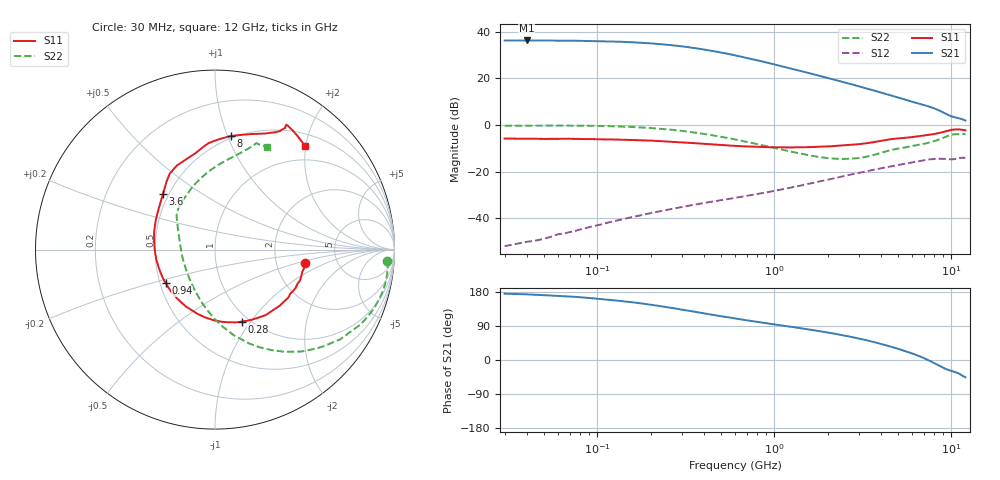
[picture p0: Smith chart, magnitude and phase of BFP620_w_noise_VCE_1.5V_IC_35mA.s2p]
! Infineon Technologies  Discrete & RF Semiconductors
! BFP620
! VCE =  1.5 V,  IC =  35 mA
! Common Emitter S-Parameters:  Nov 2015
# GHz  S  MA  R  50
!  f  S11  S21  S12  S22
! GHz  MAG  ANG  MAG  ANG  MAG  ANG  MAG  ANG
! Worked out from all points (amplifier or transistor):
!   239 points, 30 MHz to 12 GHz, reference 50 ohm
!   highest |S21| = 36.2 dB at 40 MHz (marker M1)
!   |S21| within 3 dB of that: start of sweep to 335.4 MHz
!   unconditionally stable (mu >= 1): 2.356 GHz to end of sweep
!   at 300 MHz: K = 0.38, MSG = 34.5 dB, |S12| = -35.2 dB
!   at 1.88 GHz: K = 0.97, MSG = 22.3 dB, |S12| = -24.0 dB
!   at 12 GHz: K = 1.08, MAG = 6.2 dB, |S12| = -14.1 dB
!   lowest NFmin = 1.24 dB at 450 MHz
!   S11 on the Smith chart (normalised r, x): 30 MHz: 2.94, -0.60; 280 MHz: 0.92, -0.91; 940 MHz: 0.54, -0.23; 3.6 GHz: 0.47, +0.35; 8 GHz: 0.48, +1.03; 12 GHz: 0.71, +1.98
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0.03  0.5089 -8.5  64.66 175.1  0.0025 92.2  0.9621 -3.8
0.04  0.5071 -11.7  64.91 173.3  0.0031 90.2  0.9665 -5.9
0.07  0.5041 -19.9  64.39 167.6  0.005 84.5  0.9662 -12.1
0.085  0.4974 -23.8  63.61 164.7  0.006 83.0  0.9602 -15.1
0.115  0.4868 -31.9  62.26 159.2  0.008 79.3  0.9411 -20.9
0.15  0.4774 -40.9  59.99 153.4  0.0101 76.1  0.911 -27.3
0.19  0.463 -50.0  56.98 147.4  0.0123 73.2  0.8674 -33.9
0.24  0.4429 -61.3  53.13 140.4  0.0147 70.0  0.8121 -41.4
0.28  0.4277 -69.6  50.04 135.4  0.0165 68.0  0.7668 -46.8
0.34  0.4095 -81.0  45.63 128.8  0.0189 65.5  0.7017 -54.2
0.4  0.394 -91.1  41.58 123.0  0.0211 63.8  0.6419 -60.7
0.5  0.3711 -105.2  35.73 115.5  0.0242 61.8  0.5565 -70.0
0.6  0.356 -117.3  31.12 109.5  0.0272 60.8  0.488 -77.7
0.8  0.3388 -135.7  24.36 100.5  0.0328 59.7  0.3868 -90.2
0.94  0.3325 -145.6  21.09 95.9  0.0367 59.2  0.3379 -97.6
1.2  0.3292 -160.4  16.75 88.6  0.044 58.2  0.2742 -110.4
1.64  0.335 -178.6  12.41 79.2  0.0566 55.7  0.2169 -130.5
2.4  0.3599 158.5  8.472 65.8  0.0777 49.5  0.1863 -164.8
3.6  0.4236 133.3  5.567 48.1  0.1084 37.5  0.2236 155.5
4.5  0.4923 120.9  4.344 35.7  0.1279 28.3  0.2861 138.5
8  0.64 81.9  2.266 -8.4  0.1866 -8.4  0.4485 92.3
12  0.7659 49.2  1.243 -45.6  0.1967 -41.0  0.6421 63.2
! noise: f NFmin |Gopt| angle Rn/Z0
0.45  1.24  0.19  -162  0.1
0.9  1.25  0.22  -150  0.1
1.9  1.26  0.26  -138  0.11
2.4  1.28  0.26  -136  0.11
3.5  1.32  0.33  -101  0.18
5.5  1.6  0.36  -84  0.23
10  1.92  0.63  -45  0.98
